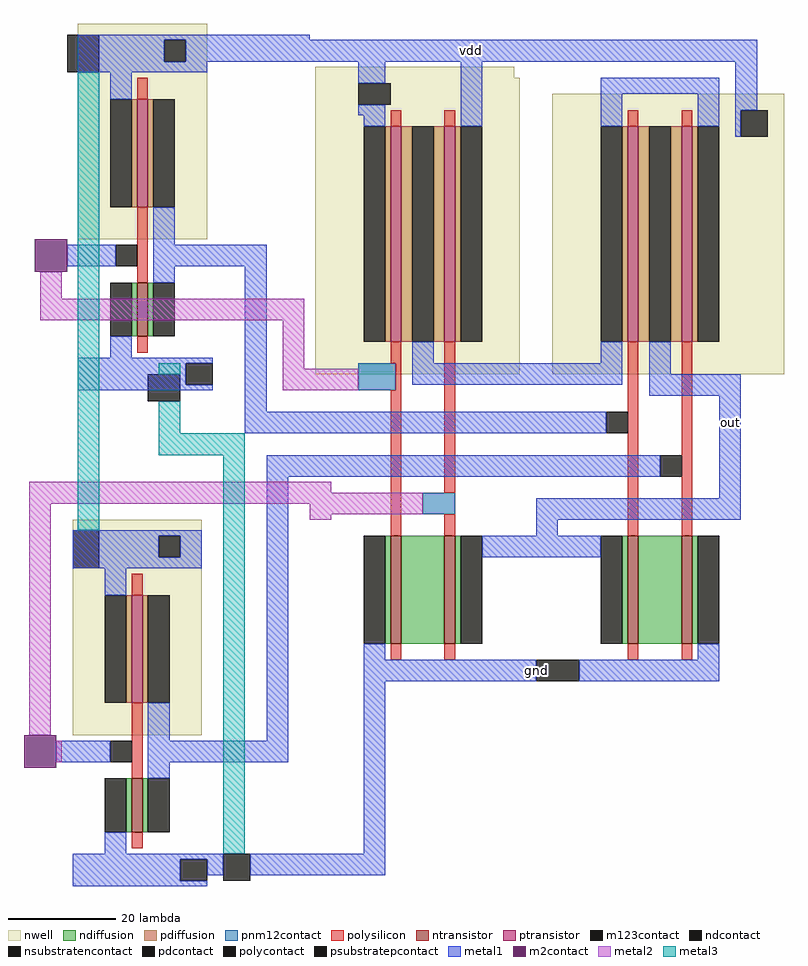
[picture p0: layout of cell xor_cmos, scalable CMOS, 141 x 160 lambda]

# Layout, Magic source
magic
tech scmos
<< nwell >>
rect -57 67 -20 69
rect -57 12 -19 67
rect -13 12 30 64
<< ntransistor >>
rect -43 -38 -41 -18
rect -33 -38 -31 -18
rect 1 -38 3 -18
rect 11 -38 13 -18
<< ptransistor >>
rect -43 18 -41 58
rect -33 18 -31 58
rect 1 18 3 58
rect 11 18 13 58
<< ndiffusion >>
rect -44 -38 -43 -18
rect -41 -38 -33 -18
rect -31 -38 -30 -18
rect 0 -38 1 -18
rect 3 -38 11 -18
rect 13 -38 14 -18
<< pdiffusion >>
rect -44 18 -43 58
rect -41 18 -39 58
rect -35 18 -33 58
rect -31 18 -30 58
rect 0 18 1 58
rect 3 18 5 58
rect 9 18 11 58
rect 13 18 14 58
<< ndcontact >>
rect -48 -38 -44 -18
rect -30 -38 -26 -18
rect -4 -38 0 -18
rect 14 -38 18 -18
<< pdcontact >>
rect -48 18 -44 58
rect -39 18 -35 58
rect -30 18 -26 58
rect -4 18 0 58
rect 5 18 9 58
rect 14 18 18 58
<< psubstratepcontact >>
rect -16 -45 -8 -41
<< nsubstratencontact >>
rect -49 62 -43 66
rect 22 56 27 61
<< polysilicon >>
rect -43 58 -41 61
rect -33 58 -31 61
rect 1 58 3 61
rect 11 58 13 61
rect -43 14 -41 18
rect -42 9 -41 14
rect -43 -18 -41 9
rect -33 -10 -31 18
rect -33 -18 -31 -14
rect 1 -18 3 18
rect 11 -18 13 18
rect -43 -41 -41 -38
rect -33 -41 -31 -38
rect 1 -41 3 -38
rect 11 -41 13 -38
<< polycontact >>
rect -3 1 1 5
rect 7 -7 11 -3
<< metal1 >>
rect -77 74 -58 75
rect -77 70 25 74
rect -49 66 -44 70
rect -49 60 -44 62
rect -48 58 -44 60
rect -30 58 -26 70
rect -103 32 -101 36
rect -81 32 -66 36
rect -70 5 -66 32
rect -4 64 18 67
rect -4 58 0 64
rect 14 58 18 64
rect -39 14 -35 18
rect -4 14 0 18
rect -39 10 0 14
rect 21 61 25 70
rect 21 56 22 61
rect 5 12 9 18
rect 5 8 22 12
rect -70 1 -3 5
rect -66 -7 7 -3
rect -66 -56 -62 -7
rect 18 -11 22 8
rect -16 -15 22 -11
rect -16 -18 -12 -15
rect -105 -60 -102 -56
rect -82 -60 -62 -56
rect -26 -22 -4 -18
rect -48 -41 -44 -38
rect 14 -41 18 -38
rect -48 -45 -16 -41
rect -8 -45 18 -41
rect -48 -77 -44 -45
rect -77 -81 -74 -77
rect -69 -81 -44 -77
<< m2contact >>
rect -109 31 -103 37
rect -111 -61 -105 -55
<< pnm12contact >>
rect -49 9 -42 14
rect -37 -14 -31 -10
<< metal2 >>
rect -108 26 -104 31
rect -108 22 -59 26
rect -63 13 -59 22
rect -63 9 -49 13
rect -110 -10 -54 -8
rect -110 -12 -37 -10
rect -110 -55 -106 -12
rect -58 -14 -37 -12
rect -58 -15 -54 -14
rect -105 -60 -104 -56
<< m123contact >>
rect -103 68 -97 75
rect -88 7 -82 12
rect -102 -24 -97 -17
rect -74 -82 -69 -77
<< metal3 >>
rect -101 -17 -97 68
rect -86 12 -82 14
rect -86 1 -82 7
rect -86 -3 -70 1
rect -74 -77 -70 -3
use inverter  inverter_0
transform 1 0 -107 0 1 37
box 6 -28 31 40
use inverter  inverter_1
transform 1 0 -108 0 1 -55
box 6 -28 31 40
<< labels >>
rlabel metal1 -28 72 -28 72 5 vdd
rlabel metal1 20 3 20 3 7 out
rlabel metal1 -16 -43 -16 -43 1 gnd
<< end >>

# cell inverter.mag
magic
tech scmos
<< nwell >>
rect 6 0 30 40
<< ntransistor >>
rect 17 -18 19 -8
<< ptransistor >>
rect 17 6 19 26
<< ndiffusion >>
rect 16 -18 17 -8
rect 19 -18 20 -8
<< pdiffusion >>
rect 16 6 17 26
rect 19 6 20 26
<< ndcontact >>
rect 12 -18 16 -8
rect 20 -18 24 -8
<< pdcontact >>
rect 12 6 16 26
rect 20 6 24 26
<< psubstratepcontact >>
rect 26 -27 31 -23
<< nsubstratencontact >>
rect 22 33 26 37
<< polysilicon >>
rect 17 26 19 30
rect 17 -8 19 6
rect 17 -21 19 -18
<< polycontact >>
rect 13 -5 17 -1
<< metal1 >>
rect 6 37 30 38
rect 6 33 22 37
rect 26 33 30 37
rect 6 31 30 33
rect 12 26 16 31
rect 20 -1 24 6
rect 6 -5 13 -1
rect 20 -5 30 -1
rect 20 -8 24 -5
rect 12 -22 16 -18
rect 6 -23 31 -22
rect 6 -27 26 -23
rect 6 -28 31 -27
<< labels >>
rlabel metal1 10 33 10 33 5 vdd
rlabel metal1 13 -24 13 -24 1 gnd
rlabel metal1 28 -3 28 -3 1 out
<< end >>
